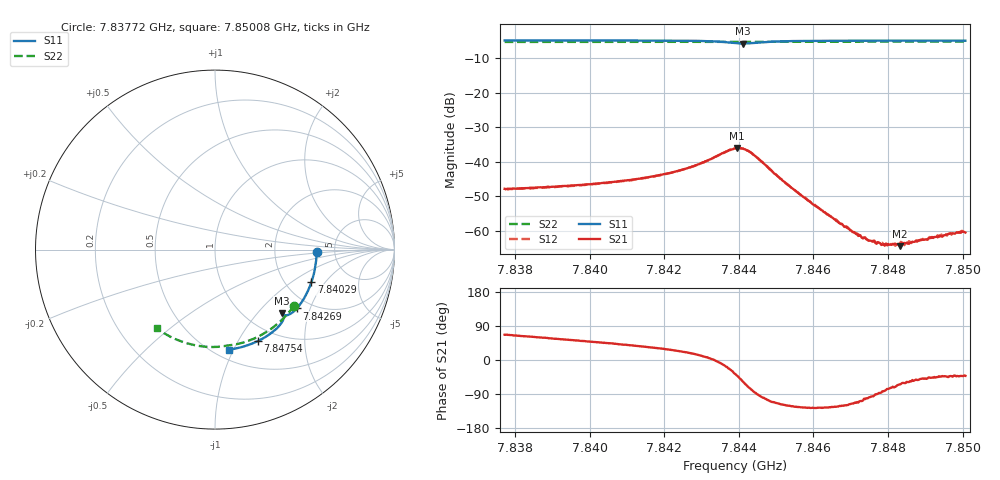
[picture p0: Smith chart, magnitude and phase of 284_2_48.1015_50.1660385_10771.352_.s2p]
#  HZ  S  RI  R  50.00
! Rohde & Schwarz Vector Network Analyzer
! Rohde-Schwarz,ZNB20-2Port,1311601062101988,3.16
! Created: UTC 12/23/2023, 4:03:05 AM
! freq[Hz]  re:S11  im:S11  re:S21  im:S21  re:S12  im:S12  re:S22  im:S22
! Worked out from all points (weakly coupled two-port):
!   401 points, 7.83772 GHz to 7.85008 GHz, reference 50 ohm
!   highest |S21| = -36.01 dB at 7.84396 GHz (marker M1); lowest = -64.3 dB at 7.84832 GHz (marker M2)
!   lowest |S11| = -5.8 dB at 7.84412 GHz (marker M3), VSWR 3.10, Z = 71 - j67.9 ohm
!   |S11| at or under -10 dB: nowhere
!   |S22| runs from -5.4 to -5.3 dB; largest |S21 - S12| = 0.00029
!   S11 on the Smith chart (normalised r, x): 7.83772 GHz: 3.61, -0.13; 7.84029 GHz: 2.75, -1.46; 7.84269 GHz: 1.70, -1.62; 7.84754 GHz: 0.81, -1.21; 7.85008 GHz: 0.59, -0.96
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7.837723e9  0.5663 -0.0122  0.00161 0.00371  0.00159 0.00363  0.4402 -0.3124
7.839792e9  0.5472 -0.1486  0.00296 0.00356  0.00291 0.00352  0.3419 -0.4187
7.840286e9  0.5375 -0.1806  0.00335 0.00351  0.00333 0.00348  0.3144 -0.44
7.841861e9  0.4918 -0.2788  0.00547 0.00326  0.00541 0.00329  0.219 -0.495
7.842695e9  0.4557 -0.3281  0.00788 0.00261  0.00787 0.0026  0.164 -0.516
7.843436e9  0.4081 -0.3636  0.0123 -0.000916  0.0122 -0.000871  0.1134 -0.5286
7.843899e9  0.3739 -0.3615  0.0125 -0.00921  0.0127 -0.00921  0.0823 -0.5326
7.843961e9  0.372 -0.3586  0.0118 -0.0106  0.0116 -0.0105  0.0785 -0.5331
7.844115e9  0.3718 -0.3527  0.00835 -0.013  0.00843 -0.0129  0.0688 -0.5344
7.844424e9  0.3821 -0.3576  0.000976 -0.0123  0.00108 -0.0122  0.0491 -0.538
7.84532e9  0.3635 -0.418  -0.00233 -0.00394  -0.00234 -0.00401  -0.0136 -0.5428
7.845968e9  0.3304 -0.4517  -0.00145 -0.00199  -0.00148 -0.00201  -0.0595 -0.5403
7.847019e9  0.2702 -0.4931  -0.000442 -0.000908  -0.000454 -0.000908  -0.1322 -0.5281
7.847266e9  0.2555 -0.5011  -0.000265 -0.000804  -0.000244 -0.00082  -0.1491 -0.5239
7.847544e9  0.2386 -0.5096  -8.66e-05 -0.000713  -0.000122 -0.000704  -0.1679 -0.5183
7.847852e9  0.2197 -0.5183  8.09e-05 -0.000625  7.35e-05 -0.000666  -0.1883 -0.5113
7.848038e9  0.2081 -0.5231  0.00016 -0.000609  0.00016 -0.000581  -0.2005 -0.5068
7.848254e9  0.1947 -0.5282  0.000254 -0.000583  0.000276 -0.000587  -0.2146 -0.501
7.848316e9  0.1906 -0.5296  0.000262 -0.000547  0.000294 -0.000587  -0.2185 -0.4994
7.848686e9  0.1672 -0.5375  0.000395 -0.000567  0.000383 -0.000568  -0.2422 -0.4886
7.849675e9  0.1031 -0.5533  0.000683 -0.000621  0.000655 -0.000625  -0.3024 -0.4544
7.850076e9  0.0766 -0.5573  0.000706 -0.000629  0.00074 -0.000688  -0.3256 -0.4385
